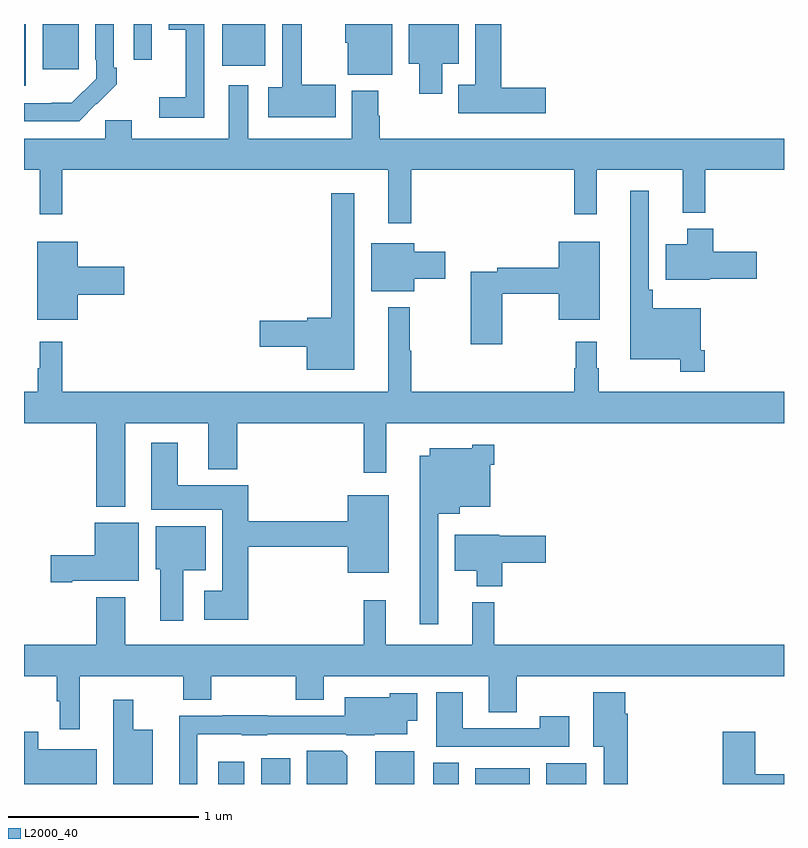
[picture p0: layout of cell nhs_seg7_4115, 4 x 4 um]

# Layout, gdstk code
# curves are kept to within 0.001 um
import gdstk
lib = gdstk.Library(unit=1e-6, precision=1e-09)
def R(c, l, rs):  # rectangles x0, y0, x1, y1
    for r in rs: c.add(gdstk.rectangle(r[:2], r[2:], *l))
def P(c, l, *ps):  # polygons
    for p in ps: c.add(gdstk.Polygon(p, *l))
L2000_40 = (2000, 40)

nhs_seg7_4115 = lib.new_cell('nhs_seg7_4115')
R(nhs_seg7_4115, L2000_40, [(372.023,1048,372.16,1048.117), (372.248,1048,372.4,1048.135), (372.848,1048,373.054,1048.172), (373.154,1048,373.288,1048.112), (373.376,1048,373.663,1048.084), (373.748,1048,373.96,1048.108), (371,1051.674,371.01,1052), (371.099,1051.761,371.287,1052), (372.044,1051.781,372.271,1052), (371.577,1051.812,371.673,1052)])
P(nhs_seg7_4115, L2000_40, [(371.381,1051.579),(371.382,1051.578),(371.487,1051.683),(371.487,1051.771),(371.472,1051.771),(371.472,1052),(371.376,1052),(371.376,1051.813),(371.379,1051.813),(371.379,1051.713),(371.251,1051.585),(371,1051.584),(371,1051.488),(371.29,1051.488)],
  [(372.937,1052),(372.692,1052),(372.692,1051.902),(372.704,1051.902),(372.704,1051.733),(372.937,1051.733)],
  [(373.201,1051.79),(373.288,1051.79),(373.288,1052),(373.025,1052),(373.025,1051.79),(373.079,1051.79),(373.079,1051.632),(373.201,1051.632)],
  [(371.949,1052),(371.762,1052),(371.762,1051.97),(371.852,1051.97),(371.852,1051.615),(371.712,1051.615),(371.712,1051.506),(371.949,1051.506)],
  [(373.747,1051.664),(373.511,1051.664),(373.511,1052),(373.376,1052),(373.376,1051.681),(373.286,1051.681),(373.286,1051.529),(373.747,1051.529)],
  [(372.64,1051.679),(372.463,1051.679),(372.463,1052),(372.359,1052),(372.359,1051.666),(372.285,1051.666),(372.285,1051.508),(372.64,1051.508)],
  [(373.039,1051.232),(373.897,1051.232),(373.897,1050.999),(374.015,1050.999),(374.015,1051.232),(374.468,1051.232),(374.468,1051.007),(374.585,1051.007),(374.585,1051.232),(375,1051.232),(375,1051.396),(372.873,1051.396),(372.873,1051.517),(372.865,1051.517),(372.865,1051.648),(372.725,1051.648),(372.725,1051.396),(372.181,1051.396),(372.181,1051.678),(372.077,1051.678),(372.077,1051.396),(371.566,1051.396),(371.566,1051.494),(371.427,1051.494),(371.427,1051.396),(371,1051.396),(371,1051.232),(371.084,1051.232),(371.084,1050.999),(371.201,1050.999),(371.201,1051.232),(372.917,1051.232),(372.917,1050.951),(373.039,1050.951)],
  [(374.582,1050.283),(374.562,1050.283),(374.562,1050.505),(374.309,1050.505),(374.309,1050.601),(374.289,1050.601),(374.289,1051.123),(374.192,1051.123),(374.192,1050.236),(374.454,1050.236),(374.454,1050.171),(374.582,1050.171)],
  [(372.739,1051.108),(372.618,1051.108),(372.618,1050.455),(372.492,1050.455),(372.492,1050.437),(372.24,1050.437),(372.24,1050.302),(372.488,1050.302),(372.488,1050.179),(372.739,1050.179)],
  [(374.61,1050.659),(374.857,1050.659),(374.857,1050.801),(374.627,1050.801),(374.627,1050.922),(374.492,1050.922),(374.492,1050.841),(374.378,1050.841),(374.378,1050.653),(374.61,1050.653)],
  [(373.516,1050.58),(373.814,1050.58),(373.814,1050.443),(374.029,1050.443),(374.029,1050.853),(373.814,1050.853),(373.814,1050.716),(373.492,1050.716),(373.492,1050.696),(373.351,1050.696),(373.351,1050.315),(373.516,1050.315)],
  [(371.284,1050.575),(371.527,1050.575),(371.527,1050.722),(371.284,1050.722),(371.284,1050.853),(371.069,1050.853),(371.069,1050.443),(371.284,1050.443)],
  [(373.054,1050.659),(373.216,1050.659),(373.216,1050.801),(373.054,1050.801),(373.054,1050.847),(372.827,1050.847),(372.827,1050.593),(373.054,1050.593)],
  [(371.533,1049.9),(371.969,1049.9),(371.969,1049.657),(372.122,1049.657),(372.122,1049.9),(372.787,1049.9),(372.787,1049.637),(372.906,1049.637),(372.906,1049.9),(375,1049.9),(375,1050.064),(374.026,1050.064),(374.026,1050.188),(374.014,1050.188),(374.014,1050.328),(373.905,1050.328),(373.905,1050.188),(373.897,1050.188),(373.897,1050.064),(373.039,1050.064),(373.039,1050.281),(373.031,1050.281),(373.031,1050.508),(372.917,1050.508),(372.917,1050.064),(371.201,1050.064),(371.201,1050.328),(371.084,1050.328),(371.084,1050.188),(371.073,1050.188),(371.073,1050.064),(371,1050.064),(371,1049.9),(371.381,1049.9),(371.381,1049.459),(371.533,1049.459)],
  [(372.179,1049.248),(372.704,1049.248),(372.704,1049.111),(372.919,1049.111),(372.919,1049.521),(372.704,1049.521),(372.704,1049.384),(372.179,1049.384),(372.179,1049.572),(371.809,1049.572),(371.809,1049.797),(371.669,1049.797),(371.669,1049.444),(372.044,1049.444),(372.044,1049.017),(371.949,1049.017),(371.949,1048.865),(372.179,1048.865)],
  [(373.179,1049.423),(373.294,1049.423),(373.294,1049.459),(373.453,1049.459),(373.453,1049.681),(373.475,1049.681),(373.475,1049.785),(373.359,1049.785),(373.359,1049.767),(373.136,1049.767),(373.136,1049.728),(373.082,1049.728),(373.082,1048.842),(373.179,1048.842)],
  [(371.254,1049.069),(371.605,1049.069),(371.605,1049.374),(371.372,1049.374),(371.372,1049.204),(371.142,1049.204),(371.142,1049.062),(371.254,1049.062)],
  [(371.839,1049.126),(371.956,1049.126),(371.956,1049.356),(371.693,1049.356),(371.693,1049.13),(371.717,1049.13),(371.717,1048.86),(371.839,1048.86)],
  [(373.517,1049.164),(373.747,1049.164),(373.747,1049.306),(373.5,1049.306),(373.5,1049.311),(373.268,1049.311),(373.268,1049.123),(373.382,1049.123),(373.382,1049.042),(373.517,1049.042)],
  [(371.293,1048.568),(371.837,1048.568),(371.837,1048.444),(371.985,1048.444),(371.985,1048.568),(372.43,1048.568),(372.43,1048.444),(372.577,1048.444),(372.577,1048.568),(373.445,1048.568),(373.445,1048.378),(373.593,1048.378),(373.593,1048.568),(375,1048.568),(375,1048.732),(373.475,1048.732),(373.475,1048.957),(373.358,1048.957),(373.358,1048.732),(372.905,1048.732),(372.905,1048.966),(372.787,1048.966),(372.787,1048.732),(371.533,1048.732),(371.533,1048.984),(371.381,1048.984),(371.381,1048.732),(371,1048.732),(371,1048.568),(371.172,1048.568),(371.172,1048.436),(371.189,1048.436),(371.189,1048.287),(371.293,1048.287)],
  [(373.87,1048.357),(373.714,1048.357),(373.714,1048.293),(373.309,1048.293),(373.309,1048.483),(373.169,1048.483),(373.169,1048.197),(373.87,1048.197)],
  [(374.177,1048.37),(374.164,1048.37),(374.164,1048.483),(373.997,1048.483),(373.997,1048.196),(374.051,1048.196),(374.051,1048),(374.177,1048)],
  [(371.913,1048.262),(372.147,1048.262),(372.147,1048.256),(372.279,1048.256),(372.279,1048.263),(372.696,1048.263),(372.696,1048.256),(372.846,1048.256),(372.846,1048.262),(373.018,1048.262),(373.018,1048.334),(373.069,1048.334),(373.069,1048.477),(372.924,1048.477),(372.924,1048.456),(372.689,1048.456),(372.689,1048.359),(372.279,1048.359),(372.279,1048.361),(372.047,1048.361),(372.047,1048.359),(371.816,1048.359),(371.816,1048),(371.913,1048)],
  [(371.677,1048.285),(371.575,1048.285),(371.575,1048.444),(371.471,1048.444),(371.471,1048),(371.677,1048)],
  [(371.383,1048.183),(371.074,1048.183),(371.074,1048.276),(371,1048.276),(371,1048),(371.383,1048)],
  [(375,1048.052),(374.848,1048.052),(374.848,1048.276),(374.678,1048.276),(374.678,1048),(375,1048)],
  [(372.7,1048.148),(372.674,1048.174),(372.488,1048.174),(372.488,1048),(372.7,1048)])

lib.write_gds('nhs_seg7_4115.gds')
